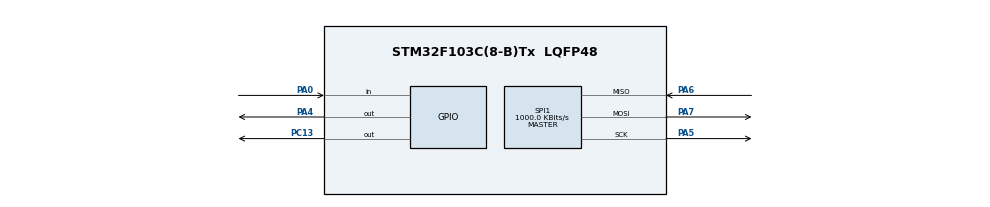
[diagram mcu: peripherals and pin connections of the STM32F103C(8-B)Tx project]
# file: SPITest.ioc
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Mcu.Family=STM32F1
Mcu.Name=STM32F103C(8-B)Tx
Mcu.Package=LQFP48
NVIC.PriorityGroup=NVIC_PRIORITYGROUP_4
PA0-WKUP.GPIO_PuPd=GPIO_PULLUP
PA0-WKUP.Signal=GPIO_Input
PA13.Mode=Serial_Wire
PA13.Signal=SYS_JTMS-SWDIO
PA14.Mode=Serial_Wire
PA14.Signal=SYS_JTCK-SWCLK
PA4.GPIO_ModeDefaultOutputPP=GPIO_MODE_OUTPUT_PP
PA4.GPIO_PuPd=GPIO_NOPULL
PA4.GPIO_Speed=GPIO_SPEED_FREQ_HIGH
PA4.PinState=GPIO_PIN_SET
PA4.Signal=GPIO_Output
PA5.Mode=Full_Duplex_Master
PA5.Signal=SPI1_SCK
PA6.Mode=Full_Duplex_Master
PA6.Signal=SPI1_MISO
PA7.Mode=Full_Duplex_Master
PA7.Signal=SPI1_MOSI
PC13-TAMPER-RTC.GPIO_ModeDefaultOutputPP=GPIO_MODE_OUTPUT_OD
PC13-TAMPER-RTC.GPIO_PuPd=GPIO_NOPULL
PC13-TAMPER-RTC.PinState=GPIO_PIN_SET
PC13-TAMPER-RTC.Signal=GPIO_Output
ProjectManager.HeapSize=0x200
ProjectManager.StackSize=0x400
ProjectManager.TargetToolchain=CMake
RCC.APB1Freq_Value=8000000
RCC.APB2Freq_Value=8000000
SPI1.BaudRatePrescaler=SPI_BAUDRATEPRESCALER_8
SPI1.CLKPhase=SPI_PHASE_2EDGE
SPI1.CLKPolarity=SPI_POLARITY_HIGH
SPI1.CalculateBaudRate=1000.0 KBits/s
SPI1.Direction=SPI_DIRECTION_2LINES
SPI1.Mode=SPI_MODE_MASTER
SPI1.VirtualType=VM_MASTER
board=custom

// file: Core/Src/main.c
/* USER CODE BEGIN Header */
/**
  ******************************************************************************
  * @file           : main.c
  * @brief          : Main program body
  ******************************************************************************
  * @attention
  *
  * Copyright (c) 2026 STMicroelectronics.
  * All rights reserved.
  *
  * This software is licensed under terms that can be found in the LICENSE file
  * in the root directory of this software component.
  * If no LICENSE file comes with this software, it is provided AS-IS.
  *
  ******************************************************************************
  */
/* USER CODE END Header */
#include "main.h"

SPI_HandleTypeDef hspi1;

void SystemClock_Config(void);

static void MX_GPIO_Init(void);

static void MX_SPI1_Init(void);

/* USER CODE BEGIN PFP */
static void SaveLedState(uint8_t ledstate);

static uint8_t loadLedState(void );

/* USER CODE END PFP */

/* USER CODE BEGIN 0 */
static void SaveLedState(uint8_t ledstate) {
    // Flash相关命令代号详见产品说明文档
      // #1.写使能
    uint8_t writeEnabledCmd[] = {0x06};
    HAL_GPIO_WritePin(GPIOA, GPIO_PIN_4, GPIO_PIN_RESET);
    HAL_SPI_Transmit(&hspi1, writeEnabledCmd, 1, HAL_MAX_DELAY);
    HAL_GPIO_WritePin(GPIOA, GPIO_PIN_4, GPIO_PIN_SET);
    // #2.扇区擦除
    uint8_t sectorEraseCmd[] = {0x20, 0x00, 0x00, 0x00};
    HAL_GPIO_WritePin(GPIOA, GPIO_PIN_4, GPIO_PIN_RESET);
    HAL_SPI_Transmit(&hspi1, sectorEraseCmd, 4, HAL_MAX_DELAY);
    HAL_GPIO_WritePin(GPIOA, GPIO_PIN_4, GPIO_PIN_SET);
    // 等待扇区擦除
    HAL_Delay(100);
    // #3.写使能
    HAL_GPIO_WritePin(GPIOA, GPIO_PIN_4, GPIO_PIN_RESET);
    HAL_SPI_Transmit(&hspi1, writeEnabledCmd, 1, HAL_MAX_DELAY);
    HAL_GPIO_WritePin(GPIOA, GPIO_PIN_4, GPIO_PIN_SET);
    // #4.页编程
    uint8_t pageProgramCmd[5];
    pageProgramCmd[0] = 0x02;
    pageProgramCmd[1] = 0x00; // 1，2，3是写入的地址
    pageProgramCmd[2] = 0x00;
    pageProgramCmd[3] = 0x00;
    pageProgramCmd[4] = ledstate; // 要写入的数据状态
    HAL_GPIO_WritePin(GPIOA, GPIO_PIN_4, GPIO_PIN_RESET);
    HAL_SPI_Transmit(&hspi1, pageProgramCmd, 5, HAL_MAX_DELAY);
    HAL_GPIO_WritePin(GPIOA, GPIO_PIN_4, GPIO_PIN_SET);
    // 等待页编程
    HAL_Delay(10);
}

static uint8_t loadLedState(void) {
    uint8_t readDataCmd[] = {0x03, 0x00, 0x00, 0x00};
    uint8_t ledstate = 0xff;
    HAL_GPIO_WritePin(GPIOA, GPIO_PIN_4, GPIO_PIN_RESET);
    HAL_SPI_Transmit(&hspi1, readDataCmd, 4, HAL_MAX_DELAY);
    HAL_SPI_Receive(&hspi1, &ledstate, 1, HAL_MAX_DELAY);
    HAL_GPIO_WritePin(GPIOA, GPIO_PIN_4, GPIO_PIN_SET);
    return ledstate;
}

/* USER CODE END 0 */

int main(void) {

    /* MCU Configuration--------------------------------------------------------*/

    /* Reset of all peripherals, Initializes the Flash interface and the Systick. */
    HAL_Init();

    /* Configure the system clock */
    SystemClock_Config();

    /* Initialize all configured peripherals */
    MX_GPIO_Init();
    MX_SPI1_Init();
    /* USER CODE BEGIN 2 */
    uint8_t pre = 1;
    uint8_t cur = 1;
    uint8_t led_state = 0;
    led_state = loadLedState();
    led_state = loadLedState();
    if (led_state == 1)
        HAL_GPIO_WritePin(GPIOC, GPIO_PIN_13, GPIO_PIN_RESET);
    else
        HAL_GPIO_WritePin(GPIOC, GPIO_PIN_13, GPIO_PIN_SET);
    /* USER CODE END 2 */

    /* Infinite loop */
    /* USER CODE BEGIN WHILE */
    while (1) {
        pre = cur;
        if (HAL_GPIO_ReadPin(GPIOA, GPIO_PIN_0) == GPIO_PIN_SET)
            cur = 1;
        else cur = 0;
        if (pre != cur) {
            HAL_Delay(10);
            if (cur == 0) {
            } else {
                if (led_state == 1) {
                    HAL_GPIO_WritePin(GPIOC, GPIO_PIN_13, GPIO_PIN_SET);
                    led_state = 0;
                } else {
                    HAL_GPIO_WritePin(GPIOC, GPIO_PIN_13, GPIO_PIN_RESET);
                    led_state = 1;
                    // 也可以使用togglepin函數，效果相同
                    // HAL_GPIO_TogglePin(GPIOC, GPIO_PIN_13);
                }
                SaveLedState(led_state);
            }
        }
        /* USER CODE END WHILE */

    }
}

void SystemClock_Config(void) {
    RCC_OscInitTypeDef RCC_OscInitStruct = {0};
    RCC_ClkInitTypeDef RCC_ClkInitStruct = {0};

    /** Initializes the RCC Oscillators according to the specified parameters
    * in the RCC_OscInitTypeDef structure.
    */
    RCC_OscInitStruct.OscillatorType = RCC_OSCILLATORTYPE_HSI;
    RCC_OscInitStruct.HSIState = RCC_HSI_ON;
    RCC_OscInitStruct.HSICalibrationValue = RCC_HSICALIBRATION_DEFAULT;
    RCC_OscInitStruct.PLL.PLLState = RCC_PLL_NONE;
    if (HAL_RCC_OscConfig(&RCC_OscInitStruct) != HAL_OK) {
        Error_Handler();
    }

    /** Initializes the CPU, AHB and APB buses clocks
    */
    RCC_ClkInitStruct.ClockType = RCC_CLOCKTYPE_HCLK | RCC_CLOCKTYPE_SYSCLK
                                  | RCC_CLOCKTYPE_PCLK1 | RCC_CLOCKTYPE_PCLK2;
    RCC_ClkInitStruct.SYSCLKSource = RCC_SYSCLKSOURCE_HSI;
    RCC_ClkInitStruct.AHBCLKDivider = RCC_SYSCLK_DIV1;
    RCC_ClkInitStruct.APB1CLKDivider = RCC_HCLK_DIV1;
    RCC_ClkInitStruct.APB2CLKDivider = RCC_HCLK_DIV1;

    if (HAL_RCC_ClockConfig(&RCC_ClkInitStruct, FLASH_LATENCY_0) != HAL_OK) {
        Error_Handler();
    }
}

static void MX_SPI1_Init(void) {

    /* SPI1 parameter configuration*/
    hspi1.Instance = SPI1;
    hspi1.Init.Mode = SPI_MODE_MASTER;
    hspi1.Init.Direction = SPI_DIRECTION_2LINES;
    hspi1.Init.DataSize = SPI_DATASIZE_8BIT;
    hspi1.Init.CLKPolarity = SPI_POLARITY_HIGH;
    hspi1.Init.CLKPhase = SPI_PHASE_2EDGE;
    hspi1.Init.NSS = SPI_NSS_SOFT;
    hspi1.Init.BaudRatePrescaler = SPI_BAUDRATEPRESCALER_8;
    hspi1.Init.FirstBit = SPI_FIRSTBIT_MSB;
    hspi1.Init.TIMode = SPI_TIMODE_DISABLE;
    hspi1.Init.CRCCalculation = SPI_CRCCALCULATION_DISABLE;
    hspi1.Init.CRCPolynomial = 10;
    if (HAL_SPI_Init(&hspi1) != HAL_OK) {
        Error_Handler();
    }
}

static void MX_GPIO_Init(void) {
    GPIO_InitTypeDef GPIO_InitStruct = {0};

    /* GPIO Ports Clock Enable */
    __HAL_RCC_GPIOC_CLK_ENABLE();
    __HAL_RCC_GPIOA_CLK_ENABLE();

    /*Configure GPIO pin Output Level */
    HAL_GPIO_WritePin(GPIOC, GPIO_PIN_13, GPIO_PIN_SET);

    /*Configure GPIO pin Output Level */
    HAL_GPIO_WritePin(GPIOA, GPIO_PIN_4, GPIO_PIN_SET);

    /*Configure GPIO pin : PC13 */
    GPIO_InitStruct.Pin = GPIO_PIN_13;
    GPIO_InitStruct.Mode = GPIO_MODE_OUTPUT_OD;
    GPIO_InitStruct.Pull = GPIO_NOPULL;
    GPIO_InitStruct.Speed = GPIO_SPEED_FREQ_LOW;
    HAL_GPIO_Init(GPIOC, &GPIO_InitStruct);

    /*Configure GPIO pin : PA0 */
    GPIO_InitStruct.Pin = GPIO_PIN_0;
    GPIO_InitStruct.Mode = GPIO_MODE_INPUT;
    GPIO_InitStruct.Pull = GPIO_PULLUP;
    HAL_GPIO_Init(GPIOA, &GPIO_InitStruct);

    /*Configure GPIO pin : PA4 */
    GPIO_InitStruct.Pin = GPIO_PIN_4;
    GPIO_InitStruct.Mode = GPIO_MODE_OUTPUT_PP;
    GPIO_InitStruct.Pull = GPIO_NOPULL;
    GPIO_InitStruct.Speed = GPIO_SPEED_FREQ_HIGH;
    HAL_GPIO_Init(GPIOA, &GPIO_InitStruct);

}

void Error_Handler(void) {
    __disable_irq();
    while (1) {
    }
}
